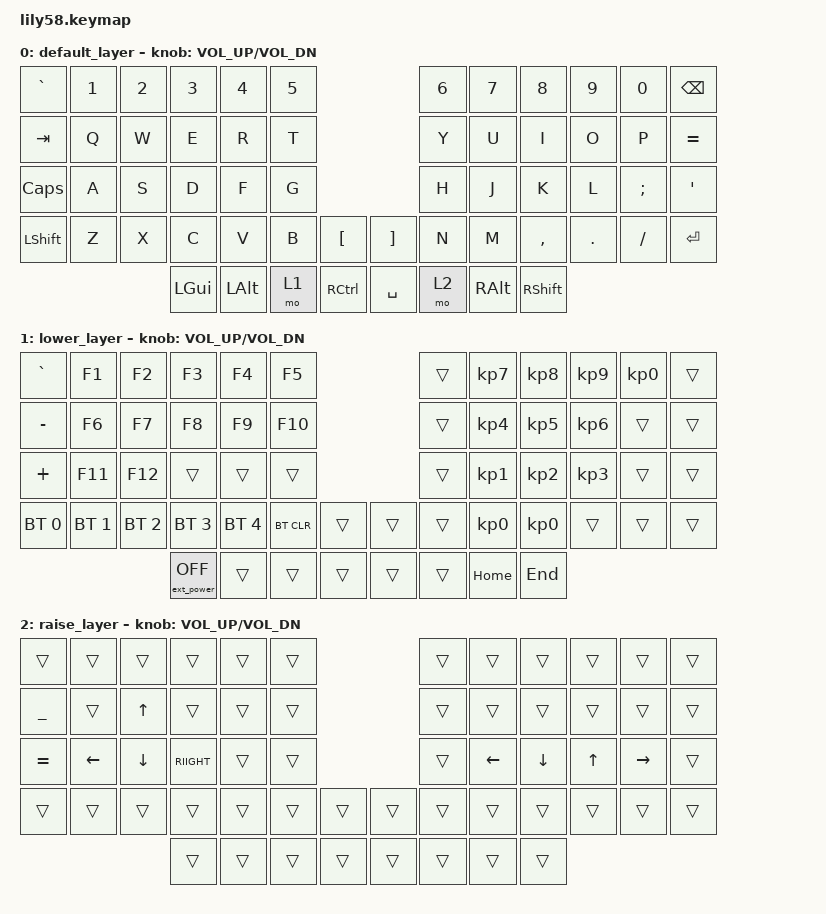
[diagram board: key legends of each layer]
/*
 * Copyright (c) 2020 The ZMK Contributors
 *
 * SPDX-License-Identifier: MIT
 */

#include <behaviors.dtsi>
#include <dt-bindings/zmk/keys.h>
#include <dt-bindings/zmk/bt.h>
#include <dt-bindings/zmk/ext_power.h>

/ {
	keymap {
		compatible = "zmk,keymap";

		default_layer {
// ------------------------------------------------------------------------------------------------------------
// |  ESC  |  1  |  2  |  3   |  4   |  5   |                   |  6   |  7    |  8    |  9   |   0   |   `   |
// |  TAB  |  Q  |  W  |  E   |  R   |  T   |                   |  Y   |  U    |  I    |  O   |   P   |   -   |
// |  CAPS |  A  |  S  |  D   |  F   |  G   |                   |  H   |  J    |  K    |  L   |   ;   |   '   |
// | SHIFT |  Z  |  X  |  C   |  V   |  B   |   "["  |  |  "]"  |  N   |  M    |  ,    |  .   |   /   | SHIFT |
//                     | ALT  | GUI  | LOWER|  SPACE |  | ENTER | RAISE| BSPC  | GUI   |
			bindings = <
&kp GRAVE     &kp N1 &kp N2 &kp N3    &kp N4    &kp N5                      &kp N6  &kp N7   &kp N8    &kp N9  &kp N0   &kp BSPC
&kp TAB       &kp Q  &kp W  &kp E     &kp R     &kp T                       &kp Y   &kp U    &kp I     &kp O   &kp P    &kp EQUAL
&kp CAPS      &kp A  &kp S  &kp D     &kp F     &kp G                       &kp H   &kp J    &kp K     &kp L   &kp SEMI &kp SQT
&kp LSHFT     &kp Z  &kp X  &kp C     &kp V     &kp B  &kp LBKT   &kp RBKT  &kp N   &kp M    &kp COMMA &kp DOT &kp FSLH &kp RET
                            &kp LGUI  &kp LALT  &mo 1  &kp RCTRL  &kp SPACE &mo 2   &kp RALT &kp RSHFT
			>;

			sensor-bindings = <&inc_dec_kp C_VOL_UP C_VOL_DN>;
		};

		lower_layer {
// ------------------------------------------------------------------------------------------------------------
// |       |     |     |      |      |      |                   | BTCLR | BT1  |  BT2  |  BT3 |  BT4  |  BT5  |
// |  F1   |  F2 |  F3 |  F4  |  F5  |  F6  |                   |  F7  |  F8   |  F9   |  F10 |  F11  |  F12  |
// |   `   |  !  |  @  |  #   |  $   |  %   |                   |  ^   |  &    |  *    |  (   |   )   |   ~   |
// |       |     |     |      |      |      |        |  |       |      |  _    |  +    |  {   |   }   |  "|"  |
//                     |      |      |      |        |  |       |      |       |       |
			bindings = <
&kp GRAVE 	 &kp F1       &kp F2       &kp F3          &kp F4            &kp F5                                &trans    &kp KP_N7    &kp KP_N8     &kp KP_N9    &kp KP_N0 &trans
&kp MINUS 	 &kp F6       &kp F7       &kp F8          &kp F9            &kp F10                               &trans    &kp KP_N4    &kp KP_N5     &kp KP_N6    &trans    &trans
&kp PLUS  	 &kp F11      &kp F12      &trans          &trans            &trans                      	   &trans    &kp KP_N1    &kp KP_N2     &kp KP_N3    &trans    &trans
&bt BT_SEL 0     &bt BT_SEL 1      &bt BT_SEL 2      &bt BT_SEL 3 &bt BT_SEL 4    &bt BT_CLR     &trans   &trans   &trans    &kp KP_N0    &kp KP_N0     &trans       &trans    &trans
                                           &ext_power EP_OFF     &trans       &trans    &trans   &trans   &trans    &kp HOME    &kp END
			>;

			sensor-bindings = <&inc_dec_kp C_VOL_UP C_VOL_DN>;
		};

		raise_layer {
// ------------------------------------------------------------------------------------------------------------
// |       |     |     |      |      |      |                   |      |       |       |      |       |       |
// |   `   |  1  |  2  |  3   |  4   |  5   |                   |  6   |   7   |   8   |  9   |   0   |       |
// |   F1  |  F2 |  F3 |  F4  |  F5  |  F6  |                   |      |   <-  |   v   |  ^   |  ->   |       |
// |   F7  |  F8 |  F9 |  F10 |  F11 |  F12 |        |  |       |  +   |   -   |   =   |  [   |   ]   |   \   |
//                     |      |      |      |        |  |       |      |       |       |
			bindings = <
&trans    &trans &trans &trans  &trans  &trans                      &trans   &trans    &trans     &trans    &trans    &trans
&kp UNDER &trans &kp UP &trans  &trans  &trans                      &trans   &trans    &trans     &trans    &trans    &trans
&kp EQUAL &kp LEFT &kp DOWN &kp RIIGHT  &trans  &trans              &trans   &kp LEFT  &kp DOWN   &kp UP    &kp RIGHT &trans
&trans    &trans &trans &trans  &trans  &trans   &trans   &trans    &trans    &trans    &trans     &trans    &trans    &trans
                        &trans  &trans  &trans    &trans   &trans    &trans      &trans    &trans
			>;

			sensor-bindings = <&inc_dec_kp C_VOL_UP C_VOL_DN>;
		};
	};
};
